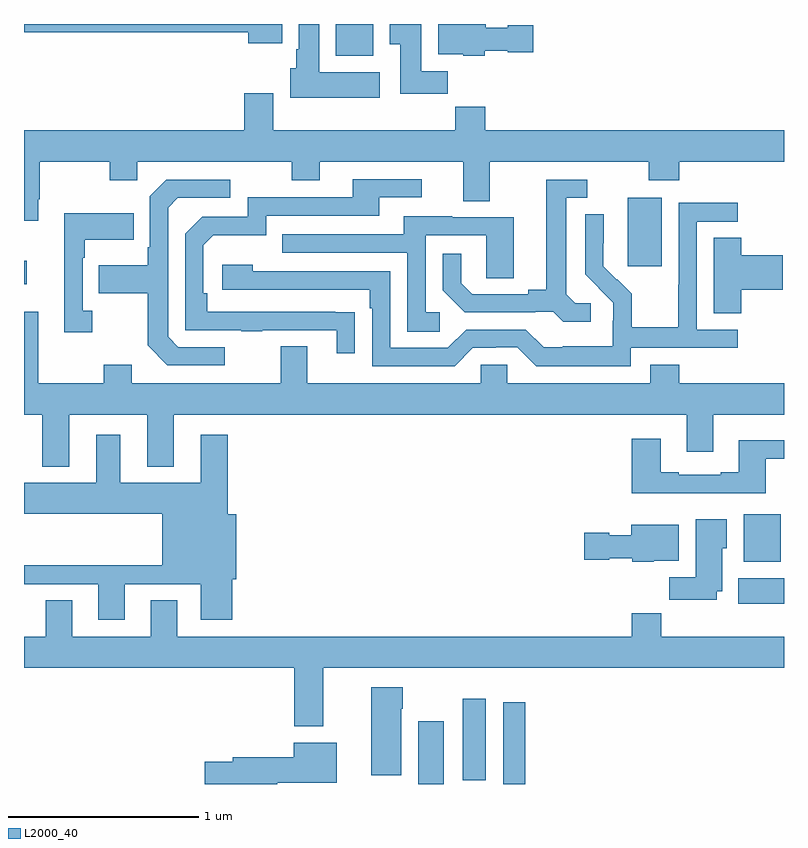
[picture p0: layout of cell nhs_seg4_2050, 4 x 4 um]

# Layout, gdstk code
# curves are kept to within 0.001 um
import gdstk
lib = gdstk.Library(unit=1e-6, precision=1e-09)
def R(c, l, rs):  # rectangles x0, y0, x1, y1
    for r in rs: c.add(gdstk.rectangle(r[:2], r[2:], *l))
def P(c, l, *ps):  # polygons
    for p in ps: c.add(gdstk.Polygon(p, *l))
L2000_40 = (2000, 40)

nhs_seg4_2050 = lib.new_cell('nhs_seg4_2050')
R(nhs_seg4_2050, L2000_40, [(219.074,770.9,219.208,771.229), (219.522,770.9,219.638,771.331), (219.308,770.919,219.43,771.349), (220.76,771.848,221,771.982), (220.787,772.07,220.983,772.321), (217,773.531,217.015,773.653), (220.178,773.625,220.357,773.986), (218.642,774.734,218.839,774.9)])
P(nhs_seg4_2050, L2000_40, [(219.23,774.652),(219.091,774.652),(219.091,774.9),(218.924,774.9),(218.924,774.793),(218.981,774.793),(218.981,774.534),(219.23,774.534)],
  [(218.872,774.646),(218.554,774.646),(218.554,774.9),(218.447,774.9),(218.447,774.766),(218.432,774.766),(218.432,774.666),(218.402,774.666),(218.402,774.512),(218.872,774.512)],
  [(218.359,774.9),(217,774.9),(217,774.856),(218.18,774.856),(218.18,774.8),(218.359,774.8)],
  [(219.426,774.758),(219.546,774.758),(219.546,774.751),(219.679,774.751),(219.679,774.893),(219.546,774.893),(219.546,774.88),(219.43,774.88),(219.43,774.9),(219.179,774.9),(219.179,774.74),(219.312,774.74),(219.312,774.734),(219.426,774.734)],
  [(217.075,773.977),(217.083,773.977),(217.083,774.176),(217.45,774.176),(217.45,774.077),(217.596,774.077),(217.596,774.176),(218.41,774.176),(218.41,774.077),(218.557,774.077),(218.557,774.176),(219.311,774.176),(219.311,773.968),(219.451,773.968),(219.451,774.176),(220.288,774.176),(220.288,774.077),(220.448,774.077),(220.448,774.176),(221,774.176),(221,774.34),(219.428,774.34),(219.428,774.464),(219.271,774.464),(219.271,774.34),(218.311,774.34),(218.311,774.535),(218.159,774.535),(218.159,774.34),(217,774.34),(217,773.865),(217.075,773.865)],
  [(218.741,773.384),(217.964,773.385),(217.964,773.482),(217.944,773.482),(217.944,773.736),(217.997,773.789),(218.274,773.789),(218.274,773.892),(218.869,773.892),(218.869,773.988),(219.094,773.988),(219.094,774.084),(218.729,774.084),(218.729,773.988),(218.178,773.988),(218.178,773.886),(217.938,773.886),(217.848,773.796),(217.848,773.289),(218.143,773.289),(218.143,773.284),(218.255,773.284),(218.255,773.289),(218.645,773.289),(218.645,773.166),(218.741,773.166)],
  [(219.982,773.43),(219.9,773.43),(219.853,773.477),(219.853,773.985),(219.964,773.985),(219.964,774.081),(219.749,774.081),(219.749,773.501),(219.653,773.501),(219.653,773.478),(219.358,773.478),(219.301,773.535),(219.301,773.692),(219.204,773.692),(219.204,773.498),(219.32,773.382),(219.692,773.382),(219.692,773.385),(219.786,773.385),(219.838,773.333),(219.982,773.333)],
  [(218.056,773.199),(217.812,773.199),(217.758,773.253),(217.758,773.934),(217.809,773.985),(218.086,773.985),(218.086,774.081),(217.749,774.081),(217.662,773.994),(217.662,773.725),(217.65,773.725),(217.65,773.629),(217.393,773.629),(217.393,773.482),(217.65,773.482),(217.65,773.209),(217.755,773.103),(218.056,773.103)],
  [(220.194,773.196),(220.756,773.196),(220.756,773.292),(220.542,773.292),(220.542,773.859),(220.756,773.859),(220.756,773.958),(220.446,773.958),(220.446,773.528),(220.444,773.528),(220.444,773.305),(220.199,773.305),(220.199,773.479),(220.122,773.556),(220.119,773.553),(220.049,773.624),(220.05,773.9),(219.954,773.9),(219.954,773.582),(220.1,773.434),(220.1,773.337),(220.098,773.337),(220.098,773.203),(219.835,773.203),(219.835,773.199),(219.735,773.199),(219.642,773.292),(219.327,773.292),(219.231,773.196),(218.928,773.196),(218.928,773.598),(218.204,773.598),(218.204,773.632),(218.043,773.632),(218.043,773.502),(218.819,773.502),(218.819,773.405),(218.832,773.405),(218.832,773.1),(219.267,773.1),(219.363,773.196),(219.482,773.196),(219.482,773.199),(219.597,773.199),(219.697,773.099),(220.194,773.099)],
  [(217.36,773.39),(217.308,773.39),(217.308,773.669),(217.321,773.669),(217.321,773.765),(217.577,773.765),(217.577,773.905),(217.211,773.905),(217.211,773.277),(217.36,773.277)],
  [(219.187,773.382),(219.114,773.382),(219.114,773.787),(219.432,773.787),(219.432,773.563),(219.577,773.563),(219.577,773.883),(219.253,773.883),(219.253,773.887),(218.999,773.887),(218.999,773.793),(218.359,773.793),(218.359,773.697),(219.018,773.697),(219.018,773.281),(219.187,773.281)],
  [(220.775,773.501),(220.993,773.501),(220.993,773.684),(220.775,773.684),(220.775,773.774),(220.631,773.774),(220.631,773.377),(220.775,773.377)],
  [(217.237,772.844),(217.649,772.844),(217.649,772.571),(217.789,772.571),(217.789,772.844),(220.487,772.844),(220.487,772.65),(220.627,772.65),(220.627,772.844),(221,772.844),(221,773.008),(220.448,773.008),(220.448,773.107),(220.295,773.107),(220.295,773.008),(219.543,773.008),(219.543,773.106),(219.405,773.106),(219.405,773.008),(218.491,773.008),(218.491,773.203),(218.351,773.203),(218.351,773.008),(217.567,773.008),(217.567,773.107),(217.42,773.107),(217.42,773.008),(217.075,773.008),(217.075,773.386),(217,773.386),(217,772.844),(217.097,772.844),(217.097,772.571),(217.237,772.571)],
  [(217.531,771.951),(217.931,771.951),(217.931,771.765),(218.096,771.765),(218.096,771.977),(218.116,771.977),(218.116,772.321),(218.072,772.321),(218.072,772.738),(217.931,772.738),(217.931,772.486),(217.507,772.486),(217.507,772.738),(217.379,772.738),(217.379,772.486),(217,772.486),(217,772.322),(217.727,772.322),(217.727,772.052),(217,772.052),(217,771.951),(217.391,771.951),(217.391,771.765),(217.531,771.765)],
  [(220.903,772.611),(221,772.611),(221,772.708),(220.763,772.708),(220.763,772.54),(220.667,772.54),(220.667,772.527),(220.447,772.527),(220.447,772.54),(220.351,772.54),(220.351,772.717),(220.199,772.717),(220.199,772.43),(220.903,772.43)],
  [(220.645,771.914),(220.675,771.914),(220.675,772.14),(220.699,772.14),(220.699,772.294),(220.535,772.294),(220.535,771.988),(220.396,771.988),(220.396,771.87),(220.645,771.87)],
  [(220.314,772.076),(220.447,772.076),(220.447,772.264),(220.196,772.264),(220.196,772.21),(220.08,772.21),(220.08,772.223),(219.948,772.223),(219.948,772.081),(220.08,772.081),(220.08,772.088),(220.2,772.088),(220.2,772.07),(220.314,772.07)],
  [(218.575,771.512),(221,771.512),(221,771.676),(220.355,771.676),(220.355,771.8),(220.199,771.8),(220.199,771.676),(217.807,771.676),(217.807,771.866),(217.667,771.866),(217.667,771.676),(217.255,771.676),(217.255,771.866),(217.115,771.866),(217.115,771.676),(217,771.676),(217,771.512),(218.423,771.512),(218.423,771.203),(218.575,771.203)],
  [(218.986,771.296),(218.994,771.296),(218.994,771.409),(218.828,771.409),(218.828,770.946),(218.986,770.946)],
  [(218.334,770.906),(218.647,770.906),(218.647,771.118),(218.42,771.118),(218.42,771.042),(218.099,771.042),(218.099,771.017),(217.95,771.017),(217.95,770.9),(218.334,770.9)])

lib.write_gds('nhs_seg4_2050.gds')
